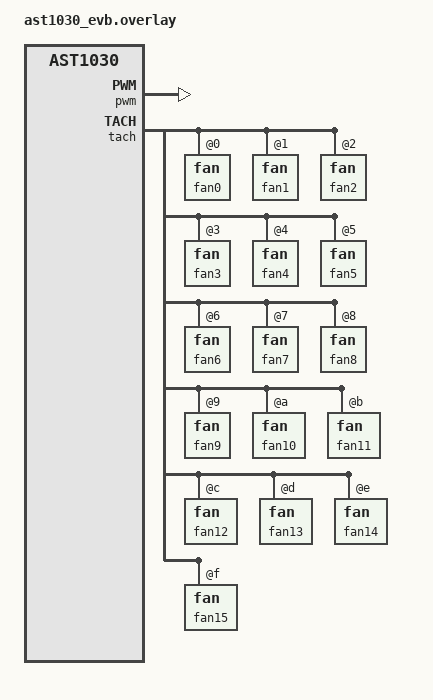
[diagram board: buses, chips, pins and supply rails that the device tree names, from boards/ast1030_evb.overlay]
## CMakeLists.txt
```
# SPDX-License-Identifier: Apache-2.0

cmake_minimum_required(VERSION 3.20.0)

find_package(Zephyr REQUIRED HINTS $ENV{ZEPHYR_BASE})
project(pwm_tach)

target_sources(app PRIVATE src/main.c)

target_include_directories(app PRIVATE ${CMAKE_CURRENT_SOURCE_DIR}/../common)
```

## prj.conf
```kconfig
CONFIG_ZTEST=y
CONFIG_PWM=y
CONFIG_PWM_ASPEED=y
CONFIG_SENSOR=y
CONFIG_TACH_ASPEED=y
CONFIG_TEST_RANDOM_GENERATOR=y
```

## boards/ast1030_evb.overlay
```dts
/*
 * Copyright (c) 2026 Aspeed Technology Inc.
 *
 * SPDX-License-Identifier: Apache-2.0
 */

&pwm {
	status = "okay";

	pinctrl-names = "default";
	pinctrl-0 = <pinctrl_pwm0_default pinctrl_pwm1_default
			pinctrl_pwm2_default pinctrl_pwm3_default
			pinctrl_pwm4_default pinctrl_pwm5_default
			pinctrl_pwm6_default pinctrl_pwm7_default
			pinctrl_pwm8_default pinctrl_pwm9_default
			pinctrl_pwm10_default pinctrl_pwm11_default
			pinctrl_pwm12_default pinctrl_pwm13_default
			pinctrl_pwm14_default pinctrl_pwm15_default>;
};

&tach {
	status = "okay";

	pinctrl-names = "default";
	pinctrl-0 = <pinctrl_tach0_default pinctrl_tach1_default
			pinctrl_tach2_default pinctrl_tach3_default
			pinctrl_tach4_default pinctrl_tach5_default
			pinctrl_tach6_default pinctrl_tach7_default
			pinctrl_tach8_default pinctrl_tach9_default
			pinctrl_tach10_default pinctrl_tach11_default
			pinctrl_tach12_default pinctrl_tach13_default
			pinctrl_tach14_default pinctrl_tach15_default>;

	fan0: fan@0 {
		reg = <0>;
		pulse-pr = <1>;
		min-rpm = <1000>;
		tach-div = <2>;
	};

	fan1: fan@1 {
		reg = <1>;
		pulse-pr = <1>;
		min-rpm = <1000>;
		tach-div = <2>;
	};

	fan2: fan@2 {
		reg = <2>;
		pulse-pr = <1>;
		min-rpm = <1000>;
		tach-div = <2>;
	};

	fan3: fan@3 {
		reg = <3>;
		pulse-pr = <1>;
		min-rpm = <1000>;
		tach-div = <2>;
	};

	fan4: fan@4 {
		reg = <4>;
		pulse-pr = <1>;
		min-rpm = <1000>;
		tach-div = <2>;
	};

	fan5: fan@5 {
		reg = <5>;
		pulse-pr = <1>;
		min-rpm = <1000>;
		tach-div = <2>;
	};

	fan6: fan@6 {
		reg = <6>;
		pulse-pr = <1>;
		min-rpm = <1000>;
		tach-div = <2>;
	};

	fan7: fan@7 {
		reg = <7>;
		pulse-pr = <1>;
		min-rpm = <1000>;
		tach-div = <2>;
	};

	fan8: fan@8 {
		reg = <8>;
		pulse-pr = <1>;
		min-rpm = <1000>;
		tach-div = <2>;
	};

	fan9: fan@9 {
		reg = <9>;
		pulse-pr = <1>;
		min-rpm = <1000>;
		tach-div = <2>;
	};

	fan10: fan@a {
		reg = <0xa>;
		pulse-pr = <1>;
		min-rpm = <1000>;
		tach-div = <2>;
	};

	fan11: fan@b {
		reg = <0xb>;
		pulse-pr = <1>;
		min-rpm = <1000>;
		tach-div = <2>;
	};

	fan12: fan@c {
		reg = <0xc>;
		pulse-pr = <1>;
		min-rpm = <1000>;
		tach-div = <2>;
	};

	fan13: fan@d {
		reg = <0xd>;
		pulse-pr = <1>;
		min-rpm = <1000>;
		tach-div = <2>;
	};

	fan14: fan@e {
		reg = <0xe>;
		pulse-pr = <1>;
		min-rpm = <1000>;
		tach-div = <2>;
	};

	fan15: fan@f {
		reg = <0xf>;
		pulse-pr = <2>;
		min-rpm = <700>;
		tach-div = <5>;
	};
};

/*
 * Provides slot0_partition, referenced by the board dts's
 * zephyr,code-partition chosen node (boards/aspeed/ast1030_evb/ast1030_evb.dts)
 * which the shared board dts itself never defines. Supplied here instead of
 * editing the shared board dts, following the same per-app overlay pattern
 * used by samples/boards/ast1030_evb/demo/boards/ast1030_evb.overlay.
 */
&fmc_cs0 {
	partitions {
		compatible = "fixed-partitions";
		#address-cells = <1>;
		#size-cells = <1>;
		slot0_partition: partition@0 {
			label = "image-0";
			reg = <0x0 0x100000>;
		};
	};
};
```

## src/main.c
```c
/*
 * Copyright (c) 2026 Aspeed Technology Inc.
 *
 * SPDX-License-Identifier: Apache-2.0
 */

#include <zephyr/device.h>
#include <zephyr/drivers/pwm.h>
#include <zephyr/drivers/sensor.h>
#include <zephyr/kernel.h>
#include <zephyr/random/random.h>
#include <zephyr/sys/util.h>
#include "ast_test.h"

#define NPWMS DT_PROP(DT_NODELABEL(pwm), npwms)

static const struct device *const pwm_dev = DEVICE_DT_GET(DT_NODELABEL(pwm));

static const struct device *const fan_devs[NPWMS] = {
	DEVICE_DT_GET(DT_NODELABEL(fan0)),  DEVICE_DT_GET(DT_NODELABEL(fan1)),
	DEVICE_DT_GET(DT_NODELABEL(fan2)),  DEVICE_DT_GET(DT_NODELABEL(fan3)),
	DEVICE_DT_GET(DT_NODELABEL(fan4)),  DEVICE_DT_GET(DT_NODELABEL(fan5)),
	DEVICE_DT_GET(DT_NODELABEL(fan6)),  DEVICE_DT_GET(DT_NODELABEL(fan7)),
	DEVICE_DT_GET(DT_NODELABEL(fan8)),  DEVICE_DT_GET(DT_NODELABEL(fan9)),
	DEVICE_DT_GET(DT_NODELABEL(fan10)), DEVICE_DT_GET(DT_NODELABEL(fan11)),
	DEVICE_DT_GET(DT_NODELABEL(fan12)), DEVICE_DT_GET(DT_NODELABEL(fan13)),
	DEVICE_DT_GET(DT_NODELABEL(fan14)), DEVICE_DT_GET(DT_NODELABEL(fan15)),
};

/*
 * Golden RPM values are for the AFB0812SH fan wired to the last PWM/TACH
 * channel on the AST1030 EVB; owned by the test author, do not invent/adjust.
 */
#define AFB0812SH_FAN_ERROR 450
static const uint32_t afb0812sh_fan_rpm[5] = {
	4500, /* 100% */
	3400, /* 75% */
	2250, /* 50% */
	1100, /* 25% */
	700,  /* 0~17% */
};

static const uint32_t afb0812sh_fan_duty[5] = {
	100, 75, 50, 25, 0,
};

/*
 * PWM->TACH self-loopback: drive each PWM channel (all but the last, which
 * is reserved for the physical fan below) at a random period and confirm
 * the paired TACH channel measures the matching RPM.
 */
static void test_pwm_tach_loopback(void)
{
	for (int hw_pwm = 0; hw_pwm < NPWMS - 1; hw_pwm++) {
		uint64_t cycles_per_sec, cycles_per_min;
		uint32_t expected_rpm, rand_cycles;
		struct sensor_value sensor_value;

		ast_zassert_ok(pwm_get_cycles_per_sec(pwm_dev, hw_pwm, &cycles_per_sec),
			       "pwm_get_cycles_per_sec failed for channel %d", hw_pwm);
		cycles_per_min = cycles_per_sec * 60;

#if defined(CONFIG_PWM_ASPEED_ACCURATE_FREQ)
		uint32_t div_l = sys_rand32_get() % 256;
		uint32_t div_h = sys_rand32_get() % 4;

		rand_cycles = BIT(div_h) * (div_l + 1) * 256;
		if (rand_cycles < 2) {
			rand_cycles = 2;
		}
#else
		/*
		 * drivers/pwm/aspeed/pwm_aspeed.c rejects any period below
		 * PWM_ASPEED_FIXED_PERIOD + 1 (256) with -ENOTSUP. The old
		 * aspeed-dev-v2.6.0 test drew from [2, 2001] here, which hits
		 * that floor about 1 in 8 draws per channel - a real, if
		 * rare, driver-vs-test-range mismatch, not something specific
		 * to this port. Floor the range at 256 to stay clear of it.
		 */
		rand_cycles = (sys_rand32_get() % 2000) + 256;
#endif
		ast_zassert_ok(pwm_set_cycles(pwm_dev, hw_pwm, rand_cycles, rand_cycles / 2, 0),
			       "pwm_set_cycles failed for channel %d", hw_pwm);

		/* Needs one cycle time for period transition. */
		k_usleep((uint64_t)rand_cycles * USEC_PER_SEC / cycles_per_sec);

		expected_rpm = cycles_per_min / rand_cycles;

		ast_zassert_ok(sensor_sample_fetch(fan_devs[hw_pwm]),
			       "Failed to read tach channel %d", hw_pwm);
		sensor_channel_get(fan_devs[hw_pwm], SENSOR_CHAN_RPM, &sensor_value);

#if defined(CONFIG_PWM_ASPEED_ACCURATE_FREQ)
		ast_zassert_equal(sensor_value.val1, expected_rpm, "PWM%d(%d == %d)", hw_pwm,
				   sensor_value.val1, expected_rpm);
#else
		ast_zassert_true(sensor_value.val1 >= expected_rpm, "PWM%d(%d < %d)", hw_pwm,
				  sensor_value.val1, expected_rpm);
#endif
	}
}

static void test_pwm_tach_fan(void)
{
	const int hw_pwm = NPWMS - 1;
	const uint32_t period_ns = 40000;

	for (int i = 0; i < ARRAY_SIZE(afb0812sh_fan_rpm); i++) {
		struct sensor_value sensor_value;

		ast_zassert_ok(pwm_set(pwm_dev, hw_pwm, period_ns,
					period_ns / 100 * afb0812sh_fan_duty[i], 0),
			       "pwm_set failed for fan channel");

		/* Wait for the fan to stabilize. */
		k_msleep(3000);

		ast_zassert_ok(sensor_sample_fetch(fan_devs[hw_pwm]), "Failed to read fan tach");
		sensor_channel_get(fan_devs[hw_pwm], SENSOR_CHAN_RPM, &sensor_value);

		ast_zassert_within(sensor_value.val1, afb0812sh_fan_rpm[i], AFB0812SH_FAN_ERROR,
				    "%d != %d+-%d", sensor_value.val1, afb0812sh_fan_rpm[i],
				    AFB0812SH_FAN_ERROR);
	}
}

int test_pwm_tach(void)
{
	ast_zassert_true(device_is_ready(pwm_dev), "PWM device is not ready");
	for (int i = 0; i < NPWMS; i++) {
		ast_zassert_true(device_is_ready(fan_devs[i]), "fan device %d is not ready", i);
	}

	test_pwm_tach_loopback();
	test_pwm_tach_fan();

	return ast_ztest_result();
}

#if !defined(AST1030_CONCURRENT_ALL)
ZTEST(pwm_tach, test_pwm_tach_all)
{
	zassert_equal(test_pwm_tach(), AST_TEST_PASS, "pwm_tach test failed");
}

ZTEST_SUITE(pwm_tach, NULL, NULL, NULL, NULL, NULL);
#endif
```
